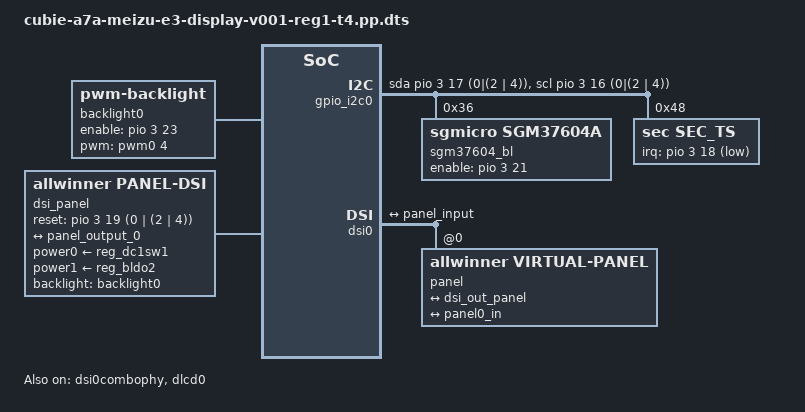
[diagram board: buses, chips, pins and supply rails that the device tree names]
# 0 "/tmp/codex-meizu-e3-v001-reg1-t4.dtso"
# 0 "<built-in>"
# 0 "<command-line>"
# 1 "/tmp/codex-meizu-e3-v001-reg1-t4.dtso"
/dts-v1/;
/plugin/;

# 1 "/usr/src/linux-headers-6.6.98-3-aw2511/include/dt-bindings/gpio/gpio.h" 1
# 5 "/tmp/codex-meizu-e3-v001-reg1-t4.dtso" 2
# 1 "/usr/src/linux-headers-6.6.98-3-aw2511/include/dt-bindings/gpio/sun4i-gpio.h" 1
# 6 "/tmp/codex-meizu-e3-v001-reg1-t4.dtso" 2
# 1 "/usr/src/linux-headers-6.6.98-3-aw2511/include/dt-bindings/display/sunxi-lcd.h" 1
# 7 "/tmp/codex-meizu-e3-v001-reg1-t4.dtso" 2
# 1 "/usr/src/linux-headers-6.6.98-3-aw2511/include/dt-bindings/interrupt-controller/irq.h" 1
# 8 "/tmp/codex-meizu-e3-v001-reg1-t4.dtso" 2
# 1 "/usr/src/linux-headers-6.6.98-3-aw2511/include/dt-bindings/pwm/pwm.h" 1
# 9 "/tmp/codex-meizu-e3-v001-reg1-t4.dtso" 2

/ {
 metadata {
  title = "Enable Meizu E3 Panel for Radxa A7A (v001)";
  compatible = "radxa,cubie-a7a";
  category = "display";
  exclusive = "dlcd0", "dsi0", "dsi0combophy", "PD18", "PD19", "PD16", "PD17", "PD21", "PD23";
  description = "Meizu E3 panel based on the official Radxa Cubie A7A DSI overlay topology; includes the official dsi0 port@1 graph fix";
 };
};

&{/} {
 backlight0: backlight0 {
  compatible = "pwm-backlight";
  status = "okay";
  enable-gpio = <&pio 3 23 0>;
  brightness-levels = <
     0 1 2 3 4 5 6 7
     8 9 10 11 12 13 14 15
    16 17 18 19 20 21 22 23
    24 25 26 27 28 29 30 31
    32 33 34 35 36 37 38 39
    40 41 42 43 44 45 46 47
    48 49 50 51 52 53 54 55
    56 57 58 59 60 61 62 63
    64 65 66 67 68 69 70 71
    72 73 74 75 76 77 78 79
    80 81 82 83 84 85 86 87
    88 89 90 91 92 93 94 95
    96 97 98 99 100 101 102 103
   104 105 106 107 108 109 110 111
   112 113 114 115 116 117 118 119
   120 121 122 123 124 125 126 127
   128 129 130 131 132 133 134 135
   136 137 138 139 140 141 142 143
   144 145 146 147 148 149 150 151
   152 153 154 155 156 157 158 159
   160 161 162 163 164 165 166 167
   168 169 170 171 172 173 174 175
   176 177 178 179 180 181 182 183
   184 185 186 187 188 189 190 191
   192 193 194 195 196 197 198 199
   200 201 202 203 204 205 206 207
   208 209 210 211 212 213 214 215
   216 217 218 219 220 221 222 223
   224 225 226 227 228 229 230 231
   232 233 234 235 236 237 238 239
   240 241 242 243 244 245 246 247
   248 249 250 251 252 253 254 255>;
  default-brightness-level = <73>;
  pwms = <&pwm0 4 25000 (1 << 0)>;
 };

 dsi_panel: dsi_panel@1 {
  compatible = "allwinner,panel-dsi";
  status = "okay";
  power-delay-ms = <120>;
  power0-supply = <&reg_dc1sw1>;
  power1-supply = <&reg_bldo2>;

  reset-num = <1>;
  reset-delay-ms = <120>;
  reset-gpios = <&pio 3 19 (0 | (2 | 4))>;
  backlight = <&backlight0>;
  dsi,flags = <(1 | (1<<1) | (1 << 11) | (1<<9))>;
  dsi,lanes = <4>;
  enable-delay-ms = <120>;
  dsi,format = <0>;

  panel-init-sequence = [
   05 78 01 11
   05 0a 01 29
  ];

  panel-exit-sequence = [
   05 00 01 28
   05 00 01 10
  ];

  disp_timings0: display-timings {
   native-mode = <&dsi1_timing0>;
   dsi1_timing0: timing0 {
    clock-frequency = <157000000>;
    hback-porch = <13>;
    hactive = <1080>;
    hfront-porch = <115>;
    hsync-len = <3>;
    vback-porch = <10>;
    vactive = <2160>;
    vfront-porch = <10>;
    vsync-len = <4>;
   };
  };

  port {
   panel0_in: endpoint@0 {
    reg = <0>;
    remote-endpoint = <&panel_output_0>;
   };
  };
 };

 gpio_i2c0: gpio-i2c0 {
  status = "okay";
  compatible = "i2c-gpio";
  scl-gpios = <&pio 3 16 (0|(2 | 4))>;
  sda-gpios = <&pio 3 17 (0|(2 | 4))>;
  i2c-gpio,delay-us = <2>;
  #address-cells = <1>;
  #size-cells = <0>;

  sgm37604_bl: backlight@36 {
   compatible = "sgmicro,sgm37604a";
   reg = <0x36>;
   sgmicro,led-channels = <0x07>;
   sgmicro,max-current = <0>;
   default-brightness-level = <2000>;
   enable-gpios = <&pio 3 21 0>;
  };

  sec_ts: sec_ts@48 {
   compatible = "sec,sec_ts";
   reg = <0x48>;
   status = "okay";
   sec,irq_gpio = <&pio 3 18 1>;
   sec,max_coords = <1080>, <2160>;
  };
 };
};

&dsi0combophy {
 status = "okay";
};

&dlcd0 {
 status = "okay";
};

&dsi0 {
 status = "okay";
 pinctrl-0 = <&dsi0_4lane_pins_a>;
 pinctrl-1 = <&dsi0_4lane_pins_b>;
 pinctrl-names = "active","sleep";

 ports {
  dsi0_out: port@1 {
   reg = <1>;
   dsi_out_panel: endpoint {
    remote-endpoint = <&panel_input>;
   };
  };
 };

 panel: panel@0 {
  compatible = "allwinner,virtual-panel";
  status = "okay";
  reg = <0>;
  ports {
   panel_in: port@0 {
    reg = <0>;
    panel_input: endpoint@0 {
     reg = <0>;
     remote-endpoint = <&dsi_out_panel>;
    };
   };
   panel_out: port@1 {
    reg = <1>;
    panel_output_0: endpoint@0 {
     reg = <0>;
     remote-endpoint = <&panel0_in>;
    };
   };
  };
 };
};
